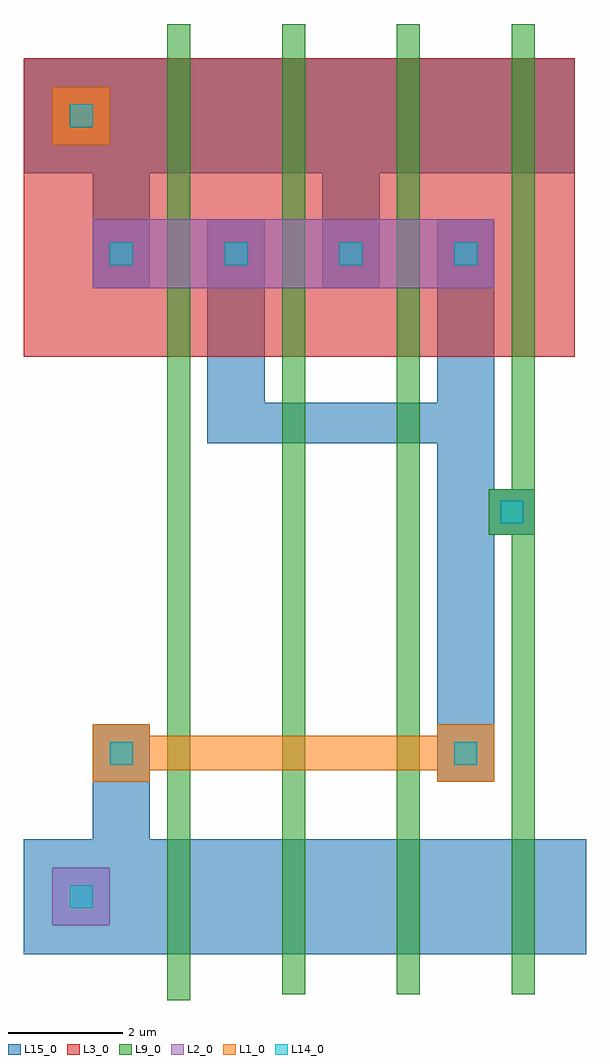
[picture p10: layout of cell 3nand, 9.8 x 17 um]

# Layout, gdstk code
import gdstk
lib = gdstk.Library(unit=1e-6, precision=1e-09)
def R(c, l, rs):  # rectangles x0, y0, x1, y1
    for r in rs: c.add(gdstk.rectangle(r[:2], r[2:], *l))
def A(c, l, x, y, w, h, nx, ny, dx, dy):  # array of equal rectangles
    R(c, l, [(x+i*dx, y+j*dy, x+i*dx+w, y+j*dy+h) for i in range(nx) for j in range(ny)])
def P(c, l, *ps):  # polygons
    for p in ps: c.add(gdstk.Polygon(p, *l))
L1_0 = (1, 0)
L2_0 = (2, 0)
L3_0 = (3, 0)
L9_0 = (9, 0)
L14_0 = (14, 0)
L15_0 = (15, 0)

c_3nand = lib.new_cell('3nand')
R(c_3nand, L1_0, [(-7.6,2.8,-6.6,3.8)])
P(c_3nand, L1_0, [(-6.9,-7.3),(-6.9,-8.3),(-5.9,-8.3),(-5.9,-8.1),(-0.9,-8.1),(-0.9,-8.3),(0.1,-8.3),(0.1,-7.3),(-0.9,-7.3),(-0.9,-7.5),(-5.9,-7.5),(-5.9,-7.3)])
R(c_3nand, L2_0, [(-7.6,-10.8,-6.6,-9.8), (-6.9,0.3,0.1,1.5)])
R(c_3nand, L3_0, [(-8.1,-0.9,1.5,4.3)])
R(c_3nand, L9_0, [(-5.6,-12.1,-5.2,4.9), (-3.6,-12,-3.2,4.9), (-1.6,-12,-1.2,4.9)])
P(c_3nand, L9_0, [(0.8,-12),(0.8,4.9),(0.4,4.9),(0.4,-3.2),(0,-3.2),(0,-4),(0.4,-4),(0.4,-12)])
A(c_3nand, L14_0, -6.6, 0.7, 0.4, 0.4, 4, 1, 2, 0)
R(c_3nand, L14_0, [(-7.3,-10.5,-6.9,-10.1), (-6.6,-8,-6.2,-7.6), (-0.6,-8,-0.2,-7.6), (0.2,-3.8,0.6,-3.4), (-7.3,3.1,-6.9,3.5)])
P(c_3nand, L15_0, [(-4.9,1.5),(-4.9,-2.4),(-0.9,-2.4),(-0.9,-8.3),(0.1,-8.3),(0.1,-4),(0.8,-4),(0.8,-3.2),(0.1,-3.2),(0.1,1.5),(-0.9,1.5),(-0.9,-1.7),(-3.9,-1.7),(-3.9,1.5)],
  [(1.5,2.3),(1.5,4.3),(-8.1,4.3),(-8.1,2.3),(-6.9,2.3),(-6.9,0.3),(-5.9,0.3),(-5.9,2.3),(-2.9,2.3),(-2.9,0.3),(-1.9,0.3),(-1.9,2.3)],
  [(-5.9,-9.3),(-5.9,-7.3),(-6.9,-7.3),(-6.9,-9.3),(-8.1,-9.3),(-8.1,-11.3),(1.7,-11.3),(1.7,-9.3)])

lib.write_gds('3nand.gds')
